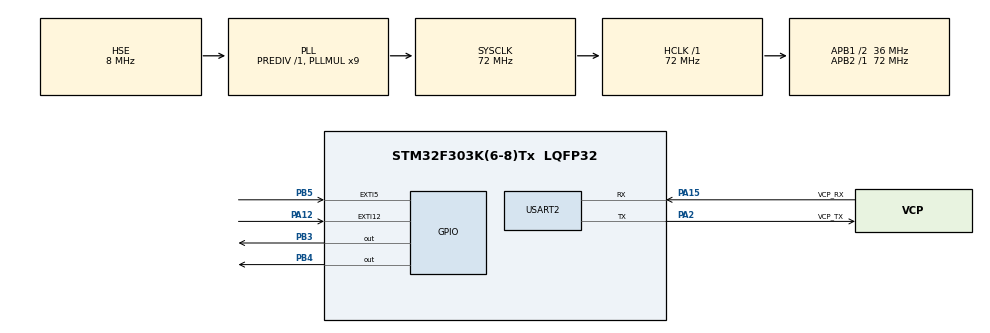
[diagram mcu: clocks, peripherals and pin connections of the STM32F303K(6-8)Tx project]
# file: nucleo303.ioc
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Mcu.Family=STM32F3
RCC.PLLSourceVirtual=RCC_PLLSOURCE_HSE
RCC.CortexFreq_Value=72000000
FREERTOS.Tasks01=defaultTask,24,128,StartDefaultTask,Default,NULL,Dynamic,NULL,NULL
PF0\ /\ OSC_IN.Mode=HSE-External-Oscillator
VP_SYS_VS_tim17.Mode=TIM17
PA14.GPIO_Label=SWCLK
RCC.SYSCLKSourceVirtual=RCC_SYSCLKSOURCE_PLLCLK
RCC.APB1CLKDivider=RCC_HCLK_DIV2
ProjectManager.StackSize=0x400
VP_FREERTOS_VS_CMSIS_V2.Mode=CMSIS_V2
PA13.Signal=SYS_JTMS-SWDIO
PA15.GPIO_Label=VCP_RX
PA12.Signal=GPXTI12
ProjectManager.TargetToolchain=Makefile
RCC.HCLKFreq_Value=72000000
RCC.APB2TimFreq_Value=72000000
PF1\ /\ OSC_OUT.Signal=RCC_OSC_OUT
RCC.AHBFreq_Value=72000000
NVIC.EXTI15_10_IRQn=true\:5\:0\:false\:false\:true\:true\:true\:true
RCC.HSE_VALUE=8000000
board=NUCLEO-F303K8
USART2.VirtualMode-Asynchronous=VM_ASYNC
PA15.Mode=Asynchronous
RCC.PLLMUL=RCC_PLL_MUL9
NVIC.TIM1_TRG_COM_TIM17_IRQn=true\:0\:0\:false\:false\:true\:false\:false\:true
RCC.APB2Freq_Value=72000000
PF0\ /\ OSC_IN.Signal=RCC_OSC_IN
PF0\ /\ OSC_IN.GPIO_Label=MCO
Mcu.Name=STM32F303K(6-8)Tx
PA2.Signal=USART2_TX
PA13.GPIO_Label=SWDIO
PB3.Signal=GPIO_Output
RCC.SYSCLKFreq_VALUE=72000000
Mcu.Package=LQFP32
PB5.Signal=GPXTI5
NVIC.TimeBase=TIM1_TRG_COM_TIM17_IRQn
PB5.GPIO_PuPd=GPIO_PULLDOWN
PA2.GPIO_Label=VCP_TX
NVIC.TimeBaseIP=TIM17
NVIC.EXTI9_5_IRQn=true\:5\:0\:false\:false\:true\:true\:true\:true
PA14.Signal=SYS_JTCK-SWCLK
PA15.Signal=USART2_RX
ProjectManager.HeapSize=0x200
RCC.HSI_VALUE=8000000
NVIC.PriorityGroup=NVIC_PRIORITYGROUP_4
RCC.APB1TimFreq_Value=72000000
PA2.Mode=Asynchronous
RCC.APB1Freq_Value=36000000
PB4.PinState=GPIO_PIN_SET
PB4.Signal=GPIO_Output
PF1\ /\ OSC_OUT.Mode=HSE-External-Oscillator

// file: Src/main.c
/* USER CODE BEGIN Header */
/**
  ******************************************************************************
  * @file           : main.c
  * @brief          : Main program body
  ******************************************************************************
  * @attention
  *
  * <h2><center>&copy; Copyright (c) 2020 STMicroelectronics.
  * All rights reserved.</center></h2>
  *
  * This software component is licensed by ST under BSD 3-Clause license,
  * the "License"; You may not use this file except in compliance with the
  * License. You may obtain a copy of the License at:
  *                        opensource.org/licenses/BSD-3-Clause
  *
  ******************************************************************************
  */
/* USER CODE END Header */

#include "main.h"
#include "cmsis_os.h"

/* USER CODE BEGIN Includes */
#include <stdio.h>
/* USER CODE END Includes */

UART_HandleTypeDef huart2;

/* Definitions for defaultTask */
osThreadId_t defaultTaskHandle;
const osThreadAttr_t defaultTask_attributes = {
  .name = "defaultTask",
  .priority = (osPriority_t) osPriorityNormal,
  .stack_size = 128 * 4
};
/* USER CODE BEGIN PV */

extern void initialise_monitor_handles(void);

/* USER CODE END PV */

void SystemClock_Config(void);
static void MX_GPIO_Init(void);
static void MX_USART2_UART_Init(void);
void StartDefaultTask(void *argument);

/* USER CODE BEGIN 0 */
#if 0
void SWO_Init(uint32_t portBits, uint32_t cpuCoreFreqHz) {
  uint32_t SWOSpeed = 64000; /* default 64k baud rate */
  uint32_t SWOPrescaler = (cpuCoreFreqHz / SWOSpeed) - 1; /* SWOSpeed in Hz, note that cpuCoreFreqHz is expected to be match the CPU core clock */

  CoreDebug->DEMCR = CoreDebug_DEMCR_TRCENA_Msk; /* enable trace in core debug */
  *((volatile unsigned *)(ITM_BASE + 0x400F0)) = 0x00000002; /* "Selected PIN Protocol Register": Select which protocol to use for trace output (2: SWO NRZ, 1: SWO Manchester encoding) */
  *((volatile unsigned *)(ITM_BASE + 0x40010)) = SWOPrescaler; /* "Async Clock Prescaler Register". Scale the baud rate of the asynchronous output */
  *((volatile unsigned *)(ITM_BASE + 0x00FB0)) = 0xC5ACCE55; /* ITM Lock Access Register, C5ACCE55 enables more write access to Control Register 0xE00 :: 0xFFC */
  ITM->TCR = ITM_TCR_TraceBusID_Msk | ITM_TCR_SWOENA_Msk | ITM_TCR_SYNCENA_Msk | ITM_TCR_ITMENA_Msk; /* ITM Trace Control Register */
  ITM->TPR = ITM_TPR_PRIVMASK_Msk; /* ITM Trace Privilege Register */
  ITM->TER = portBits; /* ITM Trace Enable Register. Enabled tracing on stimulus ports. One bit per stimulus port. */
  *((volatile unsigned *)(ITM_BASE + 0x01000)) = 0x400003FE; /* DWT_CTRL */
  *((volatile unsigned *)(ITM_BASE + 0x40304)) = 0x00000100; /* Formatter and Flush Control Register */
}

int _write(int file, char *ptr, int len)
{
	int DataIdx;

	for (DataIdx = 0; DataIdx < len; DataIdx++)
	{
	   ITM_SendChar( *ptr++ );
	}

	return len;
}

/*!
 * \brief Sends a character over the SWO channel
 * \param c Character to be sent
 * \param portNo SWO channel number, value in the range of 0 to 31
 */
void SWO_PrintChar(char c, uint8_t portNo) {
  volatile int timeout;

  /* Check if Trace Control Register (ITM->TCR at 0xE0000E80) is set */
  if ((ITM->TCR&ITM_TCR_ITMENA_Msk) == 0) { /* check Trace Control Register if ITM trace is enabled*/
    return; /* not enabled? */
  }
  /* Check if the requested channel stimulus port (ITM->TER at 0xE0000E00) is enabled */
  if ((ITM->TER & (1ul<<portNo))==0) { /* check Trace Enable Register if requested port is enabled */
    return; /* requested port not enabled? */
  }
  timeout = 5000; /* arbitrary timeout value */
  while (ITM->PORT[0].u32 == 0) {
    /* Wait until STIMx is ready, then send data */
    timeout--;
    if (timeout==0) {
      return; /* not able to send */
    }
  }
  ITM->PORT[0].u16 = 0x08 | (c<<8);
}

/*!
 * \brief Sends a string over SWO to the host
 * \param s String to send
 * \param portNumber Port number, 0-31, use 0 for normal debug strings
 */
void SWO_PrintString(const char *s, uint8_t portNumber) {
  while (*s!='\0') {
    SWO_PrintChar(*s++, portNumber);
  }
}
#endif

/* USER CODE END 0 */

int main(void)
{

  /* MCU Configuration--------------------------------------------------------*/

  /* Reset of all peripherals, Initializes the Flash interface and the Systick. */
  HAL_Init();

  /* Configure the system clock */
  SystemClock_Config();

  /* Initialize all configured peripherals */
  MX_GPIO_Init();
  MX_USART2_UART_Init();
  /* USER CODE BEGIN 2 */

  // semihosting IS working  :-)
  //uncomment line an run with:
  // run.sh
  // otherwise it goes into hardfault handler
 //
 // initialise_monitor_handles();

#if 0
#define CPU_CORE_FREQUENCY_HZ 120000000 /* CPU core frequency in Hz */

SWO_Init(0x1, CPU_CORE_FREQUENCY_HZ);
#endif

  /* USER CODE END 2 */

  /* Init scheduler */
  osKernelInitialize();

  /* Create the thread(s) */
  /* creation of defaultTask */
  defaultTaskHandle = osThreadNew(StartDefaultTask, NULL, &defaultTask_attributes);

  /* Start scheduler */
  osKernelStart();

  /* We should never get here as control is now taken by the scheduler */
  /* Infinite loop */
  /* USER CODE BEGIN WHILE */
  int a = 0;
  while (1)
  {
	  a = a + 1;
	//  HAL_GPIO_TogglePin(GPIOB, GPIO_PIN_3);
	  HAL_Delay(1000);
	  printf("----> HelloWorld %d !\n", a);
//	  SWO_PrintString("hello world with SWO\r\n", 0);
    /* USER CODE END WHILE */

  }
}

void SystemClock_Config(void)
{
  RCC_OscInitTypeDef RCC_OscInitStruct = {0};
  RCC_ClkInitTypeDef RCC_ClkInitStruct = {0};

  /** Initializes the CPU, AHB and APB busses clocks
  */
  RCC_OscInitStruct.OscillatorType = RCC_OSCILLATORTYPE_HSE;
  RCC_OscInitStruct.HSEState = RCC_HSE_ON;
  RCC_OscInitStruct.HSEPredivValue = RCC_HSE_PREDIV_DIV1;
  RCC_OscInitStruct.HSIState = RCC_HSI_ON;
  RCC_OscInitStruct.PLL.PLLState = RCC_PLL_ON;
  RCC_OscInitStruct.PLL.PLLSource = RCC_PLLSOURCE_HSE;
  RCC_OscInitStruct.PLL.PLLMUL = RCC_PLL_MUL9;
  if (HAL_RCC_OscConfig(&RCC_OscInitStruct) != HAL_OK)
  {
    Error_Handler();
  }
  /** Initializes the CPU, AHB and APB busses clocks
  */
  RCC_ClkInitStruct.ClockType = RCC_CLOCKTYPE_HCLK|RCC_CLOCKTYPE_SYSCLK
                              |RCC_CLOCKTYPE_PCLK1|RCC_CLOCKTYPE_PCLK2;
  RCC_ClkInitStruct.SYSCLKSource = RCC_SYSCLKSOURCE_PLLCLK;
  RCC_ClkInitStruct.AHBCLKDivider = RCC_SYSCLK_DIV1;
  RCC_ClkInitStruct.APB1CLKDivider = RCC_HCLK_DIV2;
  RCC_ClkInitStruct.APB2CLKDivider = RCC_HCLK_DIV1;

  if (HAL_RCC_ClockConfig(&RCC_ClkInitStruct, FLASH_LATENCY_2) != HAL_OK)
  {
    Error_Handler();
  }
}

static void MX_USART2_UART_Init(void)
{

  huart2.Instance = USART2;
  huart2.Init.BaudRate = 38400;
  huart2.Init.WordLength = UART_WORDLENGTH_8B;
  huart2.Init.StopBits = UART_STOPBITS_1;
  huart2.Init.Parity = UART_PARITY_NONE;
  huart2.Init.Mode = UART_MODE_TX_RX;
  huart2.Init.HwFlowCtl = UART_HWCONTROL_NONE;
  huart2.Init.OverSampling = UART_OVERSAMPLING_16;
  huart2.Init.OneBitSampling = UART_ONE_BIT_SAMPLE_DISABLE;
  huart2.AdvancedInit.AdvFeatureInit = UART_ADVFEATURE_NO_INIT;
  if (HAL_UART_Init(&huart2) != HAL_OK)
  {
    Error_Handler();
  }

}

static void MX_GPIO_Init(void)
{
  GPIO_InitTypeDef GPIO_InitStruct = {0};

  /* GPIO Ports Clock Enable */
  __HAL_RCC_GPIOF_CLK_ENABLE();
  __HAL_RCC_GPIOA_CLK_ENABLE();
  __HAL_RCC_GPIOB_CLK_ENABLE();

  /*Configure GPIO pin Output Level */
  HAL_GPIO_WritePin(GPIOB, GPIO_PIN_3, GPIO_PIN_RESET);

  /*Configure GPIO pin Output Level */
  HAL_GPIO_WritePin(GPIOB, GPIO_PIN_4, GPIO_PIN_SET);

  /*Configure GPIO pin : PA12 */
  GPIO_InitStruct.Pin = GPIO_PIN_12;
  GPIO_InitStruct.Mode = GPIO_MODE_IT_RISING;
  GPIO_InitStruct.Pull = GPIO_NOPULL;
  HAL_GPIO_Init(GPIOA, &GPIO_InitStruct);

  /*Configure GPIO pins : PB3 PB4 */
  GPIO_InitStruct.Pin = GPIO_PIN_3|GPIO_PIN_4;
  GPIO_InitStruct.Mode = GPIO_MODE_OUTPUT_PP;
  GPIO_InitStruct.Pull = GPIO_NOPULL;
  GPIO_InitStruct.Speed = GPIO_SPEED_FREQ_LOW;
  HAL_GPIO_Init(GPIOB, &GPIO_InitStruct);

  /*Configure GPIO pin : PB5 */
  GPIO_InitStruct.Pin = GPIO_PIN_5;
  GPIO_InitStruct.Mode = GPIO_MODE_IT_RISING;
  GPIO_InitStruct.Pull = GPIO_PULLDOWN;
  HAL_GPIO_Init(GPIOB, &GPIO_InitStruct);

  /* EXTI interrupt init*/
  HAL_NVIC_SetPriority(EXTI9_5_IRQn, 5, 0);
  HAL_NVIC_EnableIRQ(EXTI9_5_IRQn);

  HAL_NVIC_SetPriority(EXTI15_10_IRQn, 5, 0);
  HAL_NVIC_EnableIRQ(EXTI15_10_IRQn);

}

/* USER CODE BEGIN 4 */

void HAL_GPIO_EXTI_Callback(uint16_t GPIO_Pin)
{
  if(GPIO_Pin == GPIO_PIN_5){
	HAL_GPIO_TogglePin(GPIOB, GPIO_PIN_3);
  }
}

/* USER CODE END 4 */

void StartDefaultTask(void *argument)
{
  /* USER CODE BEGIN 5 */
  /* Infinite loop */
  int a = 0;
  for(;;)
  {
	  a = a + 1;
//	  HAL_GPIO_TogglePin(GPIOB, GPIO_PIN_3);
	  osDelay(1000);
	  printf("--c--> HelloWorld %d !\n", a);
  }
  /* USER CODE END 5 */
}

 /**
  * @brief  Period elapsed callback in non blocking mode
  * @note   This function is called  when TIM17 interrupt took place, inside
  * HAL_TIM_IRQHandler(). It makes a direct call to HAL_IncTick() to increment
  * a global variable "uwTick" used as application time base.
  * @param  htim : TIM handle
  * @retval None
  */
void HAL_TIM_PeriodElapsedCallback(TIM_HandleTypeDef *htim)
{
  if (htim->Instance == TIM17) {
    HAL_IncTick();
  }
}

void Error_Handler(void)
{
}

/************************ (C) COPYRIGHT STMicroelectronics *****END OF FILE****/
